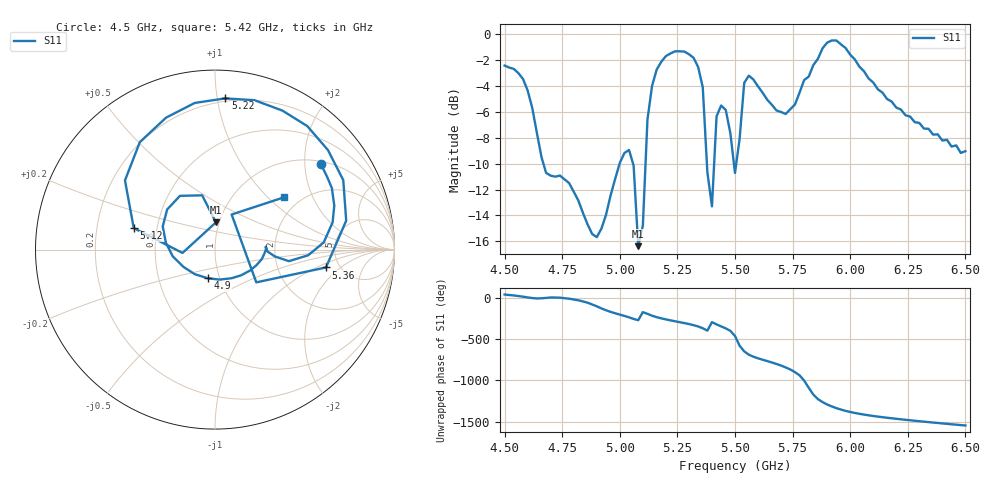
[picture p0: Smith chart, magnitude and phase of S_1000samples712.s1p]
! TOUCHSTONE file generated by CST MICROWAVE STUDIO
! Date and time: Sat Oct 29 03:00:44 2022
! Project name: L.cst
! Parameters = {Di=1.27; Epsilon_r=1.56; InnerDiameter=1.27; Length=2; Lf=10; Lg=60; OuterConductorThickness=0.2921; OuterDiameter=3.6; Wf=3; Wp=41.2; de=1.5; df=6.8; g=0.8; gx=1.83508; gy=0.689287; h=2.34; hf=1.524; px=10.9745; py=14.8034; w=9.7; wx=9.13939; wy=14.1141}
! Header version: 2018
! Port assignment regex: !\s*Touchstone port\s*([0-9]+)\s*=\s*(CST MWS port|CST DS port)\s*([0-9]+|Zmin|Zmax)\s*\(\"(.*)\"\)(\s*mode\s*([0-9]+))?.*
! Touchstone port assignment:
! Touchstone port 1 = CST MWS port 1 ("")
# GHz S DB R 50
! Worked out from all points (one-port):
!   101 points, 4.5 GHz to 6.5 GHz, reference 50 ohm
!   lowest |S11| = -16.4 dB at 5.08 GHz (marker M1), VSWR 1.36, Z = 48.2 + j15 ohm
!   |S11| at or under -10 dB: 4.668 GHz to 4.999 GHz (330.5 MHz wide, 6.84 % of centre); 5.057 GHz to 5.112 GHz (54.21 MHz wide, 1.07 % of centre); 5.378 GHz to 5.409 GHz (31.41 MHz wide, 0.582 % of centre) (the widest 3 of 4)
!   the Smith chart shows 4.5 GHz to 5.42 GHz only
!   S11 on the Smith chart (normalised r, x): 4.5 GHz: 1.08, +2.42; 4.9 GHz: 0.88, -0.29; 5.12 GHz: 0.37, +0.11; 5.22 GHz: 0.18, +1.05; 5.36 GHz: 3.91, -1.28; 5.42 GHz: 1.66, +1.26
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4.5  -2.41 38.8
4.62  -5.68 -3.5
4.76  -11.21 -5.2
4.9  -15.68 -103.8
5  -9.93 156.0
5.08  -16.38 88.0
5.12  -6.59 165.2
5.22  -1.47 86.1
5.26  -1.30 64.1
5.36  -4.07 -9.1
5.4  -13.30 64.6
5.42  -6.33 37.1
5.46  -5.84 -11.3
5.5  -10.72 -103.8
5.52  -8.08 139.2
5.54  -3.74 70.4
5.58  -3.49 5.9
5.68  -5.88 -81.8
5.76  -5.43 179.7
5.78  -4.51 141.1
5.8  -3.53 77.5
5.82  -3.26 -10.1
5.84  -2.37 -93.0
5.88  -1.07 176.9
5.94  -0.46 102.9
6  -1.56 57.1
6.26  -6.35 -43.6
6.5  -9.03 -106.5
